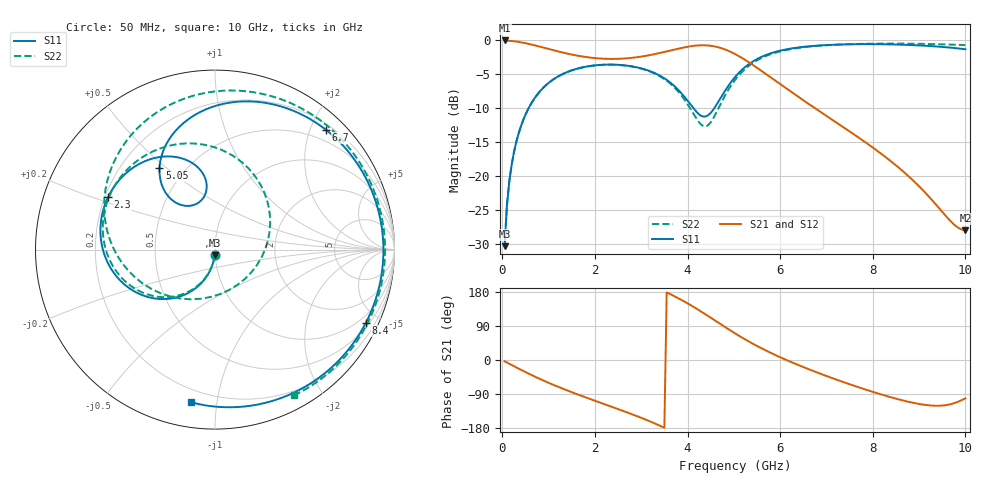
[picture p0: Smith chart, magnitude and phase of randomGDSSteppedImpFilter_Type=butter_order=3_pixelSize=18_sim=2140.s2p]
! freq	dB(S11)	phase(S11)	dB(S12)	phase(S12)
!  dB(S21)	phase(S21)	dB(S22)	phase(S22)
!S-par simulation data
#  GHz  S  DB  R 50
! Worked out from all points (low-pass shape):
!   200 points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, 50 MHz to 10 GHz, reference 50 ohm
!   highest |S21| = -0.01 dB at 50 MHz (marker M1); lowest = -27.9 dB at 10 GHz (marker M2)
!   |S21| within 3 dB of the highest: start of sweep to 5.276 GHz
!   lowest |S11| = -30.3 dB at 50 MHz (marker M3), VSWR 1.06, Z = 49.7 - j3.04 ohm
!   |S11| at or under -10 dB: start of sweep to 567.2 MHz; 4.129 GHz to 4.574 GHz (445.4 MHz wide, 10.2 % of centre)
!   |S22| runs from -30.3 to -0.5 dB; largest |S21 - S12| = 0
!   S11 on the Smith chart (normalised r, x): 50 MHz: 0.99, -0.06; 2.3 GHz: 0.21, +0.22; 5.05 GHz: 0.36, +0.47; 6.7 GHz: 0.29, +2.26; 8.4 GHz: 0.66, -4.26; 10 GHz: 0.13, -0.85
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0.05  -30.28 -93.3  -0.01 -3.3  -0.01 -3.3  -30.28 -93.5
0.1  -24.30 -96.7  -0.03 -6.6  -0.03 -6.6  -24.30 -97.0
0.2  -18.39 -103.2  -0.08 -13.0  -0.08 -13.0  -18.38 -103.8
0.5  -10.94 -121.7  -0.41 -31.8  -0.41 -31.8  -10.94 -123.1
1.05  -5.99 -151.8  -1.35 -62.9  -1.35 -62.9  -5.99 -155.0
1.75  -3.94 176.1  -2.39 -96.4  -2.39 -96.4  -3.95 170.0
2.3  -3.56 153.8  -2.72 -120.6  -2.72 -120.6  -3.57 144.1
2.9  -3.95 130.4  -2.48 -147.8  -2.48 -147.8  -3.98 113.7
3.4  -5.18 111.5  -1.86 -173.2  -1.86 -173.2  -5.27 82.9
3.85  -7.64 98.3  -1.14 159.7  -1.14 159.7  -7.95 43.7
4.15  -10.18 100.4  -0.79 138.8  -0.79 138.8  -11.05 0.8
4.6  -9.74 128.7  -0.90 103.8  -0.90 103.8  -10.90 -106.0
5.05  -5.20 124.3  -2.09 68.5  -2.09 68.5  -5.61 -172.1
5.35  -3.37 110.9  -3.34 47.0  -3.34 47.0  -3.61 159.4
5.65  -2.26 96.2  -4.74 27.6  -4.74 27.6  -2.42 136.1
6.15  -1.30 72.2  -7.16 -0.8  -7.16 -0.8  -1.39 104.1
6.7  -0.82 47.2  -9.74 -28.3  -9.74 -28.3  -0.86 74.4
7.55  -0.57 10.3  -13.62 -66.1  -13.62 -66.1  -0.54 34.3
8.35  -0.58 -23.7  -17.56 -96.9  -17.56 -96.9  -0.47 0.3
8.4  -0.59 -25.9  -17.83 -98.7  -17.83 -98.7  -0.47 -1.7
9.25  -0.83 -62.9  -23.27 -120.0  -23.27 -120.0  -0.53 -34.6
10  -1.30 -98.9  -27.94 -101.4  -27.94 -101.4  -0.69 -61.5
